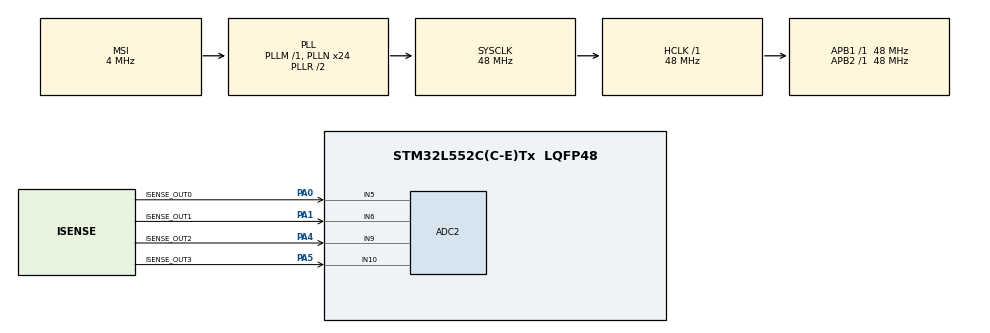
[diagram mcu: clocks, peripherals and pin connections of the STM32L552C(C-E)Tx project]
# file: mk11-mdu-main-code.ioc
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ADC2.Channel-0\#ChannelRegularConversion=ADC_CHANNEL_9
ADC2.NbrOfConversionFlag=1
ADC2.OffsetNumber-0\#ChannelRegularConversion=ADC_OFFSET_NONE
ADC2.Rank-0\#ChannelRegularConversion=1
ADC2.SamplingTime-0\#ChannelRegularConversion=ADC_SAMPLETIME_2CYCLES_5
Mcu.Family=STM32L5
Mcu.Name=STM32L552C(C-E)Tx
Mcu.Package=LQFP48
NVIC.PriorityGroup=NVIC_PRIORITYGROUP_3
PA0.GPIO_Label=ISENSE_OUT0
PA0.Signal=ADCx_IN5
PA1.GPIO_Label=ISENSE_OUT1
PA1.Signal=ADCx_IN6
PA4.GPIO_Label=ISENSE_OUT2
PA4.Signal=ADCx_IN9
PA5.GPIO_Label=ISENSE_OUT3
PA5.Signal=ADCx_IN10
PC14-OSC32_IN\ (PC14).Signal=RCC_OSC32_IN
PC15-OSC32_OUT\ (PC15).Signal=RCC_OSC32_OUT
PH0-OSC_IN\ (PH0).Mode=HSE-External-Oscillator
PH0-OSC_IN\ (PH0).Signal=RCC_OSC_IN
PH1-OSC_OUT\ (PH1).Mode=HSE-External-Oscillator
PH1-OSC_OUT\ (PH1).Signal=RCC_OSC_OUT
ProjectManager.HeapSize=0x200
ProjectManager.StackSize=0x400
ProjectManager.TargetToolchain=STM32CubeIDE
RCC.ADCFreq_Value=48000000
RCC.AHBFreq_Value=48000000
RCC.APB1Freq_Value=48000000
RCC.APB1TimFreq_Value=48000000
RCC.APB2Freq_Value=48000000
RCC.APB2TimFreq_Value=48000000
RCC.CortexFreq_Value=48000000
RCC.HCLKFreq_Value=48000000
RCC.HSE_VALUE=16000000
RCC.HSI48_VALUE=48000000
RCC.HSI_VALUE=16000000
RCC.LSE_VALUE=32768
RCC.MSI_VALUE=4000000
RCC.PLLN=24
RCC.PLLSAI1N=24
RCC.SYSCLKFreq_VALUE=48000000
RCC.SYSCLKSource=RCC_SYSCLKSOURCE_PLLCLK
RCC.USBFreq_Value=48000000
RCC.VCOOutputFreq_Value=96000000
SH.ADCx_IN10.0=ADC2_IN10,IN10-Single-Ended
SH.ADCx_IN5.0=ADC2_IN5,IN5-Single-Ended
SH.ADCx_IN6.0=ADC2_IN6,IN6-Single-Ended
SH.ADCx_IN9.0=ADC2_IN9,IN9-Single-Ended
VP_ICACHE_VS_ICACHE.Mode=DefaultMode
VP_PWR_VS_DBSignals.Mode=DisableDeadBatterySignals
VP_PWR_VS_SECSignals.Mode=Security/Privilege
board=custom

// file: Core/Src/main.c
/* USER CODE BEGIN Header */
/**
 ******************************************************************************
 * @file           : main.c
 * @brief          : Main program body
 ******************************************************************************
 * @attention
 *
 * Copyright (c) 2026 STMicroelectronics.
 * All rights reserved.
 *
 * This software is licensed under terms that can be found in the LICENSE file
 * in the root directory of this software component.
 * If no LICENSE file comes with this software, it is provided AS-IS.
 *
 ******************************************************************************
 */
/* USER CODE END Header */
#include "main.h"
#include "adc.h"
#include "gpio.h"
#include "icache.h"

/* USER CODE BEGIN PV */
float isense_current[4];
/* USER CODE END PV */

void SystemClock_Config(void);
/* USER CODE BEGIN PFP */
float ADC_Read_Current(ADC_HandleTypeDef *hadc, uint32_t channel);
/* USER CODE END PFP */

/* USER CODE BEGIN 0 */
float ADC_Read_Current(ADC_HandleTypeDef *hadc, uint32_t channel) {
  ADC_ChannelConfTypeDef sConfig = {0};
  sConfig.Channel = channel;
  sConfig.Rank = ADC_REGULAR_RANK_1;
  // Increase sampling time to give the internal capacitor time to charge!
  sConfig.SamplingTime = ADC_SAMPLETIME_640CYCLES_5;
  sConfig.SingleDiff = ADC_SINGLE_ENDED;
  sConfig.OffsetNumber = ADC_OFFSET_NONE;
  sConfig.Offset = 0;

  if (HAL_ADC_ConfigChannel(hadc, &sConfig) != HAL_OK) {
    Error_Handler();
  }

  HAL_ADC_Start(hadc);
  float result = -1.0f; // Return -1.0 so we know if it failed!
  if (HAL_ADC_PollForConversion(hadc, 100) == HAL_OK) // Increased timeout
  {
    uint32_t val = HAL_ADC_GetValue(hadc);
    // Convert to voltage (assuming 3.3V reference and 12-bit ADC)
    result = ((float)val * 3.3f) / 4095.0f;
  }

  // Stop the ADC to cleanly reset the state machine for the next channel
  HAL_ADC_Stop(hadc);

  return result;
}
/* USER CODE END 0 */

int main(void) {

  /* MCU Configuration--------------------------------------------------------*/

  /* Reset of all peripherals, Initializes the Flash interface and the Systick.
   */
  HAL_Init();

  /* Configure the system clock */
  SystemClock_Config();

  /* Initialize all configured peripherals */
  MX_GPIO_Init();
  MX_ICACHE_Init();
  MX_ADC2_Init();

  /* Infinite loop */
  /* USER CODE BEGIN WHILE */
  while (1) {
    // Read ISENSE_OUT0 (ADC1_IN5, PA0)
    isense_current[0] = ADC_Read_Current(&hadc2, ADC_CHANNEL_5);

    // Read ISENSE_OUT1 (ADC1_IN6, PA1)
    isense_current[1] = ADC_Read_Current(&hadc2, ADC_CHANNEL_6);

    // Read ISENSE_OUT2 (ADC2_IN9, PA4)
    isense_current[2] = ADC_Read_Current(&hadc2, ADC_CHANNEL_9);

    // Read ISENSE_OUT3 (ADC2_IN10, PA5)
    isense_current[3] = ADC_Read_Current(&hadc2, ADC_CHANNEL_10);

    HAL_Delay(10);
    /* USER CODE END WHILE */

  }
}

void SystemClock_Config(void) {
  RCC_OscInitTypeDef RCC_OscInitStruct = {0};
  RCC_ClkInitTypeDef RCC_ClkInitStruct = {0};

  /** Configure the main internal regulator output voltage
   */
  if (HAL_PWREx_ControlVoltageScaling(PWR_REGULATOR_VOLTAGE_SCALE1) != HAL_OK) {
    Error_Handler();
  }

  /** Initializes the RCC Oscillators according to the specified parameters
   * in the RCC_OscInitTypeDef structure.
   */
  RCC_OscInitStruct.OscillatorType = RCC_OSCILLATORTYPE_MSI;
  RCC_OscInitStruct.MSIState = RCC_MSI_ON;
  RCC_OscInitStruct.MSICalibrationValue = RCC_MSICALIBRATION_DEFAULT;
  RCC_OscInitStruct.MSIClockRange = RCC_MSIRANGE_6;
  RCC_OscInitStruct.PLL.PLLState = RCC_PLL_ON;
  RCC_OscInitStruct.PLL.PLLSource = RCC_PLLSOURCE_MSI;
  RCC_OscInitStruct.PLL.PLLM = 1;
  RCC_OscInitStruct.PLL.PLLN = 24;
  RCC_OscInitStruct.PLL.PLLP = RCC_PLLP_DIV7;
  RCC_OscInitStruct.PLL.PLLQ = RCC_PLLQ_DIV2;
  RCC_OscInitStruct.PLL.PLLR = RCC_PLLR_DIV2;
  if (HAL_RCC_OscConfig(&RCC_OscInitStruct) != HAL_OK) {
    Error_Handler();
  }

  /** Initializes the CPU, AHB and APB buses clocks
   */
  RCC_ClkInitStruct.ClockType = RCC_CLOCKTYPE_HCLK | RCC_CLOCKTYPE_SYSCLK |
                                RCC_CLOCKTYPE_PCLK1 | RCC_CLOCKTYPE_PCLK2;
  RCC_ClkInitStruct.SYSCLKSource = RCC_SYSCLKSOURCE_PLLCLK;
  RCC_ClkInitStruct.AHBCLKDivider = RCC_SYSCLK_DIV1;
  RCC_ClkInitStruct.APB1CLKDivider = RCC_HCLK_DIV1;
  RCC_ClkInitStruct.APB2CLKDivider = RCC_HCLK_DIV1;

  if (HAL_RCC_ClockConfig(&RCC_ClkInitStruct, FLASH_LATENCY_2) != HAL_OK) {
    Error_Handler();
  }
}

void Error_Handler(void) {
  __disable_irq();
  while (1) {
  }
}
#ifdef USE_FULL_ASSERT
/**
 * @brief  Reports the name of the source file and the source line number
 *         where the assert_param error has occurred.
 * @param  file: pointer to the source file name
 * @param  line: assert_param error line source number
 * @retval None
 */
void assert_failed(uint8_t *file, uint32_t line) {
  /* USER CODE BEGIN 6 */
  /* User can add his own implementation to report the file name and line
     number, ex: printf("Wrong parameters value: file %s on line %d\r\n", file,
     line) */
  /* USER CODE END 6 */
}
#endif /* USE_FULL_ASSERT */
